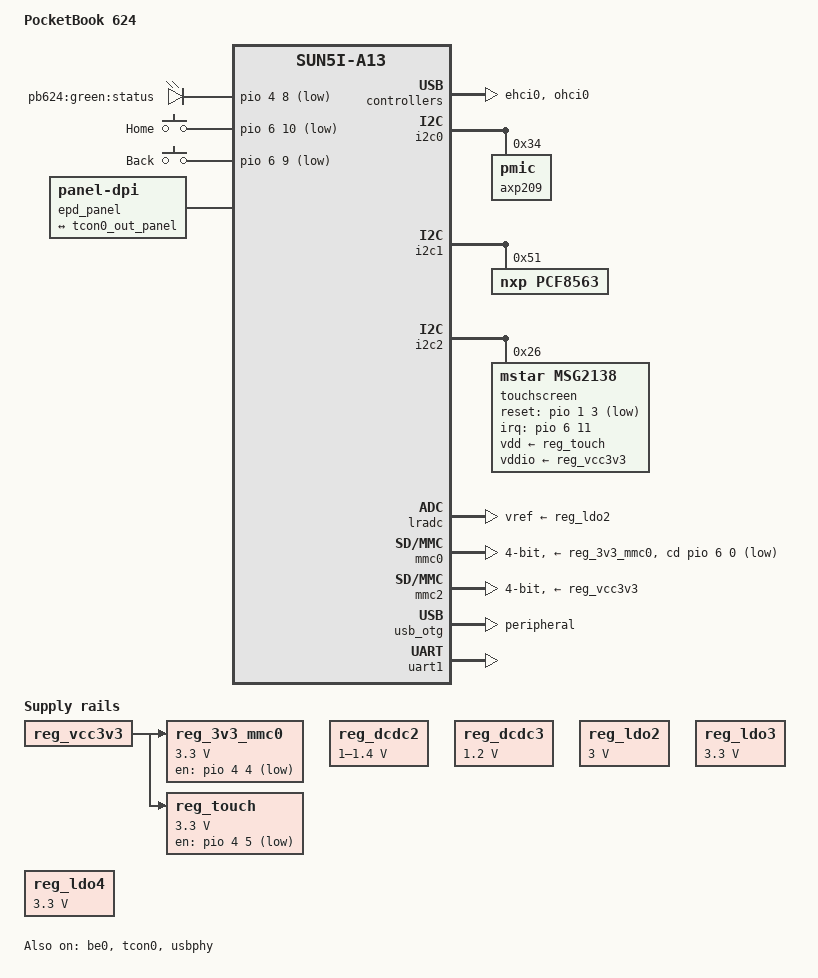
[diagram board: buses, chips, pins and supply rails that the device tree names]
// SPDX-License-Identifier: GPL-2.0
/*
 * PocketBook 624 (Basic Touch, pb624-D-ww) - full board.
 *
 * Based on the stock script0.fex and the mainline PocketBook Touch Lux 3 DT
 * (same A13 platform).  The ED060SCE e-ink panel is driven by TCON0 as a
 * 258x620 "step buffer" (see sun5i-a13-pocketbook-624-epd.dts / README);
 * userspace (epdshow) owns the panel rails, so they are not claimed here.
 *
 *   i2c0  AXP209 PMIC @0x34
 *   i2c1  PCF8563 RTC @0x51 (+ crypto chip @0x3d, unused)
 *   i2c2  MStar msg2133 touch controller @0x26 (stock "cnt_ts")
 *   USB1  RTL8188EUS Wi-Fi, powered by AXP LDO3
 *   mmc0  external microSD, power PE4 (active low), CD PG0
 *   mmc2  internal microSD (PC6-11)
 */

/dts-v1/;
#include "sun5i-a13.dtsi"
#include "sunxi-common-regulators.dtsi"
#include <dt-bindings/gpio/gpio.h>
#include <dt-bindings/input/input.h>
#include <dt-bindings/interrupt-controller/irq.h>

/ {
	model = "PocketBook 624";
	compatible = "pocketbook,624", "allwinner,sun5i-a13";

	aliases {
		serial0 = &uart1;
		mmc0 = &mmc0;
		mmc1 = &mmc2;
		i2c0 = &i2c0;
		i2c1 = &i2c1;
		i2c2 = &i2c2;
		rtc0 = &pcf8563;
	};

	chosen {
		stdout-path = "serial0:115200n8";
	};

	leds {
		compatible = "gpio-leds";

		led-0 {
			label = "pb624:green:status";
			gpios = <&pio 4 8 GPIO_ACTIVE_LOW>; /* PE8 */
			default-state = "off";
		};
	};

	gpio-keys {
		compatible = "gpio-keys";
		label = "GPIO Keys";

		/* 2nd front button from the left (stock: KEY_HOME) */
		key-home {
			label = "Home";
			linux,code = <KEY_HOME>;
			gpios = <&pio 6 10 (GPIO_ACTIVE_LOW | GPIO_PULL_UP)>; /* PG10 */
			wakeup-source;
		};

		/* 3rd front button from the left (stock: KEY_BACK) */
		key-back {
			label = "Back";
			linux,code = <KEY_BACK>;
			gpios = <&pio 6 9 (GPIO_ACTIVE_LOW | GPIO_PULL_UP)>; /* PG9 */
			wakeup-source;
		};
	};

	reg_3v3_mmc0: regulator-mmc0 {
		compatible = "regulator-fixed";
		regulator-name = "vdd-mmc0";
		regulator-min-microvolt = <3300000>;
		regulator-max-microvolt = <3300000>;
		gpio = <&pio 4 4 GPIO_ACTIVE_LOW>; /* PE4 */
		vin-supply = <&reg_vcc3v3>;
		/*
		 * U-Boot leaves the card powered and initialised; the regulator
		 * probe switches it off and the MMC core straight back on.  Give
		 * the card a real power cycle or it comes back confused.
		 */
		off-on-delay-us = <200000>;
	};

	/* touch controller supply, PE5 low = on (stock fex ctp_powerpin) */
	reg_touch: regulator-touch {
		compatible = "regulator-fixed";
		regulator-name = "vdd-touch";
		regulator-min-microvolt = <3300000>;
		regulator-max-microvolt = <3300000>;
		gpio = <&pio 4 5 GPIO_ACTIVE_LOW>; /* PE5 */
		vin-supply = <&reg_vcc3v3>;
	};

	epd_panel: panel {
		compatible = "panel-dpi";
		width-mm = <122>;
		height-mm = <91>;

		panel-timing {
			clock-frequency = <16000000>;
			hactive = <258>;
			vactive = <620>;
			hfront-porch = <11>;
			hsync-len = <1>;
			hback-porch = <1>;
			vfront-porch = <73>;
			vsync-len = <1>;
			vback-porch = <1>;
			hsync-active = <0>;
			vsync-active = <0>;
			de-active = <1>;
			pixelclk-active = <0>;
		};

		port {
			panel_in: endpoint {
				remote-endpoint = <&tcon0_out_panel>;
			};
		};
	};
};

&be0 {
	status = "okay";
};

&cpu0 {
	cpu-supply = <&reg_dcdc2>;
};

&ehci0 {
	status = "okay";
};

&ohci0 {
	status = "okay";
};

&i2c0 {
	status = "okay";

	axp209: pmic@34 {
		reg = <0x34>;
		interrupts = <0>;
	};
};

#include "axp209.dtsi"

&i2c1 {
	status = "okay";

	/*
	 * INT is wired to the NMI pin together with the AXP209 IRQ (an
	 * unhandled alarm storms IRQ 0).  It cannot power the AXP on, but
	 * wakes the SoC from suspend.
	 */
	pcf8563: rtc@51 {
		compatible = "nxp,pcf8563";
		reg = <0x51>;
		interrupts = <0>;
		#clock-cells = <0>;
		wakeup-source;
	};
};

&i2c2 {
	status = "okay";

	/*
	 * msg2133, msg21xx protocol (8-byte packets, magic 0x52).  Raw
	 * coordinates are 0..2047 on both axes; on the 800x600 panel
	 * x = raw y and y = 2047 - raw x (stock cnt_ts_pb.ko).
	 */
	touchscreen@26 {
		compatible = "mstar,msg2138";
		reg = <0x26>;
		interrupt-parent = <&pio>;
		interrupts = <6 11 IRQ_TYPE_EDGE_FALLING>; /* PG11 / EINT11 */
		reset-gpios = <&pio 1 3 GPIO_ACTIVE_LOW>; /* PB3 */
		vdd-supply = <&reg_touch>;
		vddio-supply = <&reg_vcc3v3>;
		touchscreen-size-x = <2048>;
		touchscreen-size-y = <2048>;
		touchscreen-inverted-x;
		touchscreen-swapped-x-y;
	};
};

&lradc {
	vref-supply = <&reg_ldo2>;
	wakeup-source;
	status = "okay";

	/*
	 * Measured raw LRADC codes 9 and 42 (of 63, vref = 2/3 * avcc = 2.0 V).
	 * Front buttons left to right: LRADC 0.29 V, PG10, PG9, LRADC 1.33 V.
	 */
	button-285 {
		label = "Left";
		linux,code = <KEY_LEFT>;
		channel = <0>;
		voltage = <285714>;
	};

	button-1333 {
		label = "Right";
		linux,code = <KEY_RIGHT>;
		channel = <0>;
		voltage = <1333333>;
	};
};

&mmc0 {
	pinctrl-names = "default";
	pinctrl-0 = <&mmc0_pins>;
	vmmc-supply = <&reg_3v3_mmc0>;
	bus-width = <4>;
	cd-gpios = <&pio 6 0 GPIO_ACTIVE_LOW>; /* PG0 */
	status = "okay";
};

&mmc2 {
	pinctrl-names = "default";
	pinctrl-0 = <&mmc2_4bit_pc_pins>;
	vmmc-supply = <&reg_vcc3v3>;
	bus-width = <4>;
	broken-cd;
	status = "okay";
};

&pio {
	lcd_epd_pins: lcd-epd-pins {
		pins = "PD3", "PD4", "PD5", "PD6", "PD7",
		       "PD10", "PD11", "PD12", "PD13", "PD15",
		       "PD20", "PD21", "PD22", "PD23", "PD24";
		function = "lcd0";
	};
};

&tcon0 {
	pinctrl-names = "default";
	pinctrl-0 = <&lcd_epd_pins>;
	status = "okay";
};

&tcon0_out {
	tcon0_out_panel: endpoint@0 {
		reg = <0>;
		remote-endpoint = <&panel_in>;
	};
};

&reg_dcdc2 {
	regulator-always-on;
	regulator-min-microvolt = <1000000>;
	regulator-max-microvolt = <1400000>;
	regulator-name = "vdd-cpu";
};

&reg_dcdc3 {
	regulator-always-on;
	regulator-min-microvolt = <1200000>;
	regulator-max-microvolt = <1200000>;
	regulator-name = "vdd-int-pll";
};

&reg_ldo1 {
	regulator-name = "vdd-rtc";
};

&reg_ldo2 {
	regulator-always-on;
	regulator-min-microvolt = <3000000>;
	regulator-max-microvolt = <3000000>;
	regulator-name = "avcc";
};

&reg_ldo3 {
	regulator-min-microvolt = <3300000>;
	regulator-max-microvolt = <3300000>;
	regulator-name = "vcc-wifi";
	regulator-soft-start;
	regulator-ramp-delay = <1600>;
};

/* 3.3 V in the stock fex; consumer unknown, so never switch it off */
&reg_ldo4 {
	regulator-always-on;
	regulator-min-microvolt = <3300000>;
	regulator-max-microvolt = <3300000>;
	regulator-name = "vcc-ldo4";
};

&ac_power_supply {
	status = "okay";
};

&battery_power_supply {
	status = "okay";
};

&usb_power_supply {
	status = "okay";
};

&otg_sram {
	status = "okay";
};

/* FEL port: peripheral, so musb drops the BROM's D+ pull-up at boot */
&usb_otg {
	dr_mode = "peripheral";
	status = "okay";
};

&usbphy {
	usb1_vbus-supply = <&reg_ldo3>;
	status = "okay";
};

&uart1 {
	pinctrl-names = "default";
	pinctrl-0 = <&uart1_pg_pins>;
	status = "okay";
};
